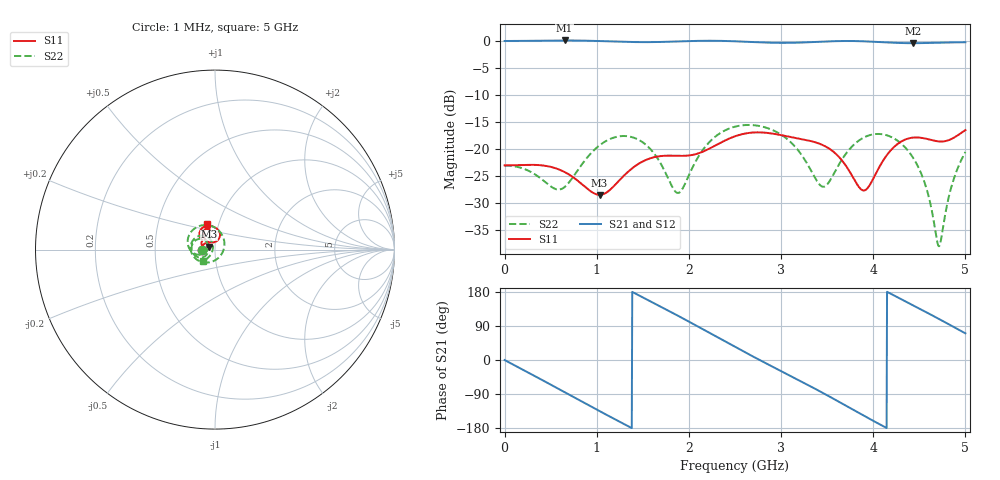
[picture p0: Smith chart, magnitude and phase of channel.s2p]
! Created with skrf 1.8.0 (http://scikit-rf.org).
# Hz S RI R 100.0
!freq ReS11 ImS11 ReS21 ImS21 ReS12 ImS12 ReS22 ImS22
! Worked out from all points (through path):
!   1001 points, 1 MHz to 5 GHz, reference 100 ohm
!   highest |S21| = 0.06 dB at 650.9 MHz (marker M1); lowest = -0.4 dB at 4.43 GHz (marker M2)
!   group delay of S21, straight-line fit = 361 ps
!   lowest |S11| = -28.6 dB at 1.031 GHz (marker M3), VSWR 1.08, Z = 93.5 + j3.14 ohm
!   |S11| at or under -10 dB: start of sweep to end of sweep
!   |S22| runs from -38.1 to -15.6 dB; largest |S21 - S12| = 0.016
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1000000  -0.07 5.38e-05  0.9955 -0.00223  0.9955 -0.00223  -0.0699 4.94e-05
3.0094e8  -0.0685 0.0183  0.7794 -0.6269  0.7796 -0.6278  -0.0589 0.0105
6.5087e8  -0.0487 0.0364  0.0931 -1.003  0.0892 -1.003  -0.0413 -0.0152
8.35833e8  -0.0352 0.0314  -0.3294 -0.9482  -0.3339 -0.9448  -0.0591 -0.0391
1.030794e9  -0.0334 0.0168  -0.7004 -0.7058  -0.7 -0.6992  -0.0995 -0.0403
1.345731e9  -0.0608 0.0102  -0.9719 -0.0808  -0.967 -0.0815  -0.1271 0.0275
1.670666e9  -0.075 0.0397  -0.7865 0.5748  -0.788 0.5749  -0.0576 0.0537
1.880624e9  -0.0691 0.051  -0.447 0.8789  -0.445 0.8825  -0.0379 0.00832
2.090582e9  -0.0718 0.054  0.0115 0.9976  0.0178 0.9973  -0.0759 -0.0279
2.285543e9  -0.0834 0.0669  0.4496 0.8929  0.4536 0.8871  -0.1285 -0.0124
2.5005e9  -0.085 0.0987  0.8138 0.5623  0.812 0.5562  -0.1523 0.0488
2.895421e9  -0.0341 0.1342  0.9216 -0.2665  0.9196 -0.2662  -0.0633 0.1364
3.335333e9  0.0108 0.1164  0.3088 -0.9213  0.3034 -0.9262  0.0526 0.0298
3.485303e9  0.0235 0.1019  -0.0187 -0.9846  -0.029 -0.9849  0.0316 -0.0324
3.680264e9  0.026 0.0694  -0.4565 -0.8844  -0.4639 -0.8748  -0.0428 -0.0724
3.890222e9  -0.00643 0.0405  -0.8181 -0.5561  -0.8147 -0.5463  -0.1204 -0.0368
4.170166e9  -0.0618 0.0684  -0.9616 0.0442  -0.9576 0.0452  -0.1174 0.0584
4.430114e9  -0.0506 0.1161  -0.7735 0.5513  -0.7718 0.5548  -0.0434 0.0707
4.570086e9  -0.0341 0.1191  -0.5708 0.7633  -0.5666 0.7681  -0.0169 0.0416
4.715057e9  -0.0313 0.1124  -0.2978 0.9129  -0.2899 0.917  -0.0124 0.00147
4.855029e9  -0.0423 0.1163  0.00634 0.9662  0.0182 0.967  -0.0297 -0.0357
5e9  -0.0472 0.141  0.3261 0.9118  0.3403 0.9049  -0.0681 -0.0635
